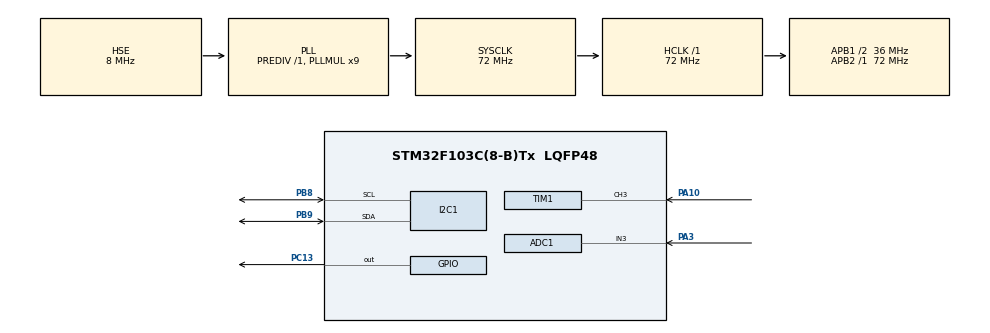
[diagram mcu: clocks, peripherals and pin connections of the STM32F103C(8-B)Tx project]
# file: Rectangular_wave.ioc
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ADC1.Channel-0\#ChannelRegularConversion=ADC_CHANNEL_3
ADC1.ContinuousConvMode=ENABLE
ADC1.NbrOfConversionFlag=1
ADC1.Rank-0\#ChannelRegularConversion=1
ADC1.SamplingTime-0\#ChannelRegularConversion=ADC_SAMPLETIME_1CYCLE_5
ADC1.master=1
I2C1.I2C_Mode=I2C_Fast
Mcu.Family=STM32F1
Mcu.Name=STM32F103C(8-B)Tx
Mcu.Package=LQFP48
NVIC.PriorityGroup=NVIC_PRIORITYGROUP_4
NVIC.TIM1_CC_IRQn=true\:0\:0\:true\:false\:true\:true\:true\:true
PA10.Signal=S_TIM1_CH3
PA13.Mode=Serial_Wire
PA13.Signal=SYS_JTMS-SWDIO
PA14.Mode=Serial_Wire
PA14.Signal=SYS_JTCK-SWCLK
PA3.Signal=SharedAnalog_PA3
PB8.Mode=I2C
PB8.Signal=I2C1_SCL
PB9.Mode=I2C
PB9.Signal=I2C1_SDA
PC13-TAMPER-RTC.Signal=GPIO_Output
PD0-OSC_IN.Mode=HSE-External-Oscillator
PD0-OSC_IN.Signal=RCC_OSC_IN
PD1-OSC_OUT.Mode=HSE-External-Oscillator
PD1-OSC_OUT.Signal=RCC_OSC_OUT
ProjectManager.HeapSize=0x200
ProjectManager.StackSize=0x400
ProjectManager.TargetToolchain=STM32CubeIDE
RCC.ADCPresc=RCC_ADCPCLK2_DIV6
RCC.AHBFreq_Value=72000000
RCC.APB1CLKDivider=RCC_HCLK_DIV2
RCC.APB1Freq_Value=36000000
RCC.APB1TimFreq_Value=72000000
RCC.APB2Freq_Value=72000000
RCC.APB2TimFreq_Value=72000000
RCC.HCLKFreq_Value=72000000
RCC.PLLMUL=RCC_PLL_MUL9
RCC.PLLSourceVirtual=RCC_PLLSOURCE_HSE
RCC.SYSCLKFreq_VALUE=72000000
RCC.SYSCLKSource=RCC_SYSCLKSOURCE_PLLCLK
RCC.USBFreq_Value=72000000
SH.S_TIM1_CH3.0=TIM1_CH3,Input_Capture3_from_TI3
SH.SharedAnalog_PA3.0=GPIO_Analog
SH.SharedAnalog_PA3.1=ADC1_IN3,IN3
TIM1.Channel-Input_Capture3_from_TI3=TIM_CHANNEL_3
TIM1.Channel-Input_Capture4_from_TI3_63=TIM_CHANNEL_4
TIM1.ICPolarity_CH4=TIM_INPUTCHANNELPOLARITY_FALLING
TIM1.Prescaler=72-1
VP_TIM1_VS_ClockSourceINT.Mode=Internal
VP_TIM1_VS_indirect_ch3.Mode=Input_Capture4_from_TI3_63
board=custom

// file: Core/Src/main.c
/* USER CODE BEGIN Header */
/**
  ******************************************************************************
  * @file           : main.c
  * @brief          : Main program body
  ******************************************************************************
  * @attention
  *
  * Copyright (c) 2025 STMicroelectronics.
  * All rights reserved.
  *
  * This software is licensed under terms that can be found in the LICENSE file
  * in the root directory of this software component.
  * If no LICENSE file comes with this software, it is provided AS-IS.
  *
  ******************************************************************************
  */
/* USER CODE END Header */
#include "main.h"
#include "adc.h"
#include "i2c.h"
#include "tim.h"
#include "gpio.h"

/* USER CODE BEGIN Includes */
#include "string.h"
#include "oled.h"
#include "stdio.h"
#include "timer_capture.h"
#include "adc_voltage.h"
/* USER CODE END Includes */

void SystemClock_Config(void);

/* USER CODE BEGIN 0 */
uint8_t dan=0;
char *Hz[] = {"Hz", "kHz", "MHz"};
float get_capture_Fre(void) {
    float fre;
    TimerCapture_Start();
    fre=TimerCapture_CalculateFrequency();
    if (fre<1000.0f){
        dan=0;
    }
     if (fre>1000.0f){
        fre=fre/1000.0f;
        dan=1;

    }
    else if (fre>1000000.0f){
         fre/1000000.0f;
        dan=2;
    }
     return fre;
}

float get_capture_duty(void) {
    double duty;
    TimerCapture_Start();
    duty=TimerCapture_CalculateDutyCycle();
    return duty;
}

float get_RMS(void) {
    float RMS;
    ADCVoltage_Start();
    RMS=ADCVoltage_GetRMSVoltage()*1000.0; // Convert to mV
    return RMS;
}

/* USER CODE END 0 */

int main(void)
{

  /* MCU Configuration--------------------------------------------------------*/

  /* Reset of all peripherals, Initializes the Flash interface and the Systick. */
  HAL_Init();

  /* Configure the system clock */
  SystemClock_Config();

  /* Initialize all configured peripherals */
  MX_GPIO_Init();
  MX_I2C1_Init();
  MX_TIM1_Init();
  MX_ADC1_Init();
  /* USER CODE BEGIN 2 */
    HAL_Delay(20);
    TimerCapture_Init(&htim1);
    OLED_Init();
    OLED_NewFrame();
    ADCVoltage_Init(&hadc1);
  /* USER CODE END 2 */

  /* Infinite loop */
  /* USER CODE BEGIN WHILE */

    while (1)
    {
        OLED_NewFrame();
        OLED_PrintASCIIString(0, 0, "FRE:", &afont8x6, OLED_COLOR_NORMAL);
        //OLED_ShowFrame();
        OLED_PrintFloat(30, 0,get_capture_Fre(), 2, &afont8x6, OLED_COLOR_NORMAL);
        //OLED_ShowFrame();
        OLED_PrintASCIIString(80, 0,  Hz[dan], &afont8x6, OLED_COLOR_NORMAL);
        //OLED_ShowFrame();

        HAL_Delay(200);
        OLED_PrintASCIIString(0, 22, "Duty:", &afont8x6, OLED_COLOR_NORMAL);
        //OLED_ShowFrame();
        HAL_Delay(200);
        OLED_PrintFloat(30, 22,get_capture_duty(), 2, &afont8x6, OLED_COLOR_NORMAL);
        //OLED_ShowFrame();
        OLED_PrintASCIIString(80, 22, "%", &afont8x6, OLED_COLOR_NORMAL);
        //OLED_ShowFrame();

        HAL_Delay(200);
        OLED_PrintASCIIString(0, 44, "RMS:", &afont8x6, OLED_COLOR_NORMAL);
        //OLED_ShowFrame();
        HAL_Delay(200);
        OLED_PrintFloat(30, 44,get_RMS(), 2, &afont8x6, OLED_COLOR_NORMAL);
        //OLED_ShowFrame();
        OLED_PrintASCIIString(80, 44, "mv", &afont8x6, OLED_COLOR_NORMAL);
        OLED_ShowFrame();

    /* USER CODE END WHILE */

    }
}

void SystemClock_Config(void)
{
  RCC_OscInitTypeDef RCC_OscInitStruct = {0};
  RCC_ClkInitTypeDef RCC_ClkInitStruct = {0};
  RCC_PeriphCLKInitTypeDef PeriphClkInit = {0};

  /** Initializes the RCC Oscillators according to the specified parameters
  * in the RCC_OscInitTypeDef structure.
  */
  RCC_OscInitStruct.OscillatorType = RCC_OSCILLATORTYPE_HSE;
  RCC_OscInitStruct.HSEState = RCC_HSE_ON;
  RCC_OscInitStruct.HSEPredivValue = RCC_HSE_PREDIV_DIV1;
  RCC_OscInitStruct.HSIState = RCC_HSI_ON;
  RCC_OscInitStruct.PLL.PLLState = RCC_PLL_ON;
  RCC_OscInitStruct.PLL.PLLSource = RCC_PLLSOURCE_HSE;
  RCC_OscInitStruct.PLL.PLLMUL = RCC_PLL_MUL9;
  if (HAL_RCC_OscConfig(&RCC_OscInitStruct) != HAL_OK)
  {
    Error_Handler();
  }

  /** Initializes the CPU, AHB and APB buses clocks
  */
  RCC_ClkInitStruct.ClockType = RCC_CLOCKTYPE_HCLK|RCC_CLOCKTYPE_SYSCLK
                              |RCC_CLOCKTYPE_PCLK1|RCC_CLOCKTYPE_PCLK2;
  RCC_ClkInitStruct.SYSCLKSource = RCC_SYSCLKSOURCE_PLLCLK;
  RCC_ClkInitStruct.AHBCLKDivider = RCC_SYSCLK_DIV1;
  RCC_ClkInitStruct.APB1CLKDivider = RCC_HCLK_DIV2;
  RCC_ClkInitStruct.APB2CLKDivider = RCC_HCLK_DIV1;

  if (HAL_RCC_ClockConfig(&RCC_ClkInitStruct, FLASH_LATENCY_2) != HAL_OK)
  {
    Error_Handler();
  }
  PeriphClkInit.PeriphClockSelection = RCC_PERIPHCLK_ADC;
  PeriphClkInit.AdcClockSelection = RCC_ADCPCLK2_DIV6;
  if (HAL_RCCEx_PeriphCLKConfig(&PeriphClkInit) != HAL_OK)
  {
    Error_Handler();
  }
}

/* USER CODE BEGIN 4 */
void HAL_TIM_IC_CaptureCallback(TIM_HandleTypeDef *htim) {
    if (htim->Instance == TIM1) {
        if (htim->Channel == HAL_TIM_ACTIVE_CHANNEL_3) {
            // �����ز���
            TimerCapture_RisingCallback(htim);
        } else if (htim->Channel == HAL_TIM_ACTIVE_CHANNEL_4) {
            // �½��ز���
            TimerCapture_FallingCallback(htim);
        }
    }
}
/* USER CODE END 4 */

void Error_Handler(void)
{
    __disable_irq();
    while (1)
    {
    }
}
